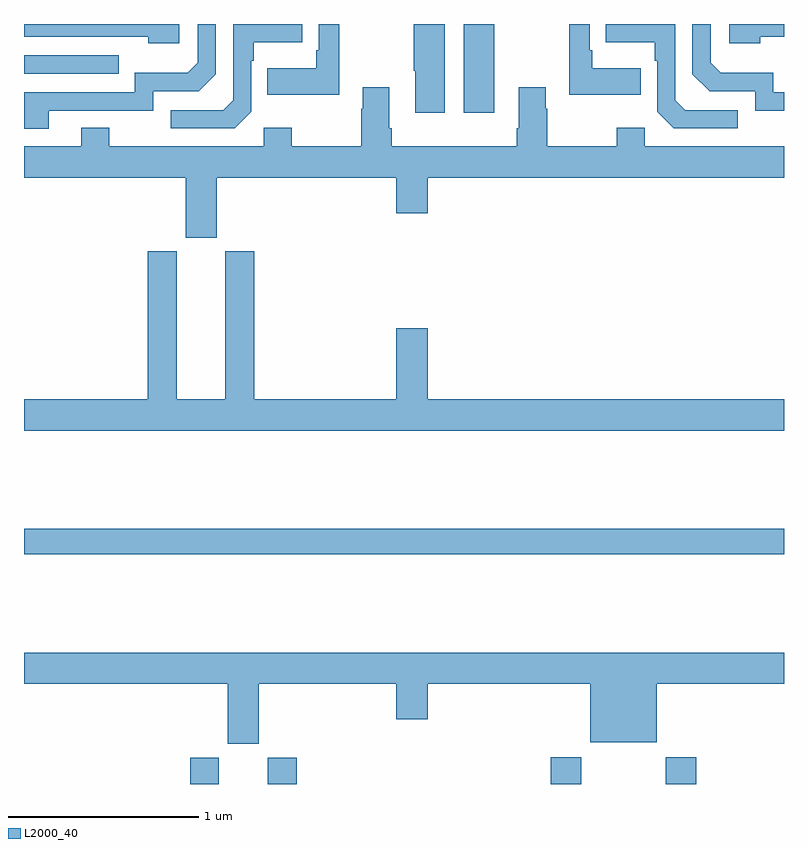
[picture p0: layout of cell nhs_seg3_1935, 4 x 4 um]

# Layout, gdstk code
import gdstk
lib = gdstk.Library(unit=1e-6, precision=1e-09)
def R(c, l, rs):  # rectangles x0, y0, x1, y1
    for r in rs: c.add(gdstk.rectangle(r[:2], r[2:], *l))
def P(c, l, *ps):  # polygons
    for p in ps: c.add(gdstk.Polygon(p, *l))
L2000_40 = (2000, 40)

nhs_seg3_1935 = lib.new_cell('nhs_seg3_1935')
R(nhs_seg3_1935, L2000_40, [(211.874,688.4,212.026,688.539), (212.282,688.4,212.435,688.539), (213.773,688.4,213.933,688.54), (214.378,688.4,214.538,688.54), (211,689.608,215,689.744), (213.314,691.932,213.475,692.4), (211,692.139,211.499,692.235)])
P(nhs_seg3_1935, L2000_40, [(215,692.04),(214.944,692.04),(214.944,692.143),(214.667,692.143),(214.614,692.196),(214.614,692.4),(214.518,692.4),(214.518,692.136),(214.608,692.046),(214.848,692.046),(214.848,691.944),(215,691.944)],
  [(214.247,692.167),(213.991,692.167),(213.991,692.263),(213.978,692.263),(213.978,692.4),(213.87,692.4),(213.87,692.027),(214.247,692.027)],
  [(212.659,692.4),(212.55,692.4),(212.55,692.263),(212.538,692.263),(212.538,692.167),(212.281,692.167),(212.281,692.027),(212.659,692.027)],
  [(211.816,692.4),(211,692.4),(211,692.334),(211.655,692.334),(211.655,692.3),(211.816,692.3)],
  [(213.214,692.4),(213.052,692.4),(213.052,692.155),(213.059,692.155),(213.059,691.932),(213.214,691.932)],
  [(214.874,692.334),(215,692.334),(215,692.4),(214.713,692.4),(214.713,692.3),(214.874,692.3)],
  [(211.129,691.944),(211.68,691.944),(211.68,692.046),(211.92,692.046),(212.01,692.136),(212.01,692.4),(211.914,692.4),(211.914,692.196),(211.861,692.143),(211.584,692.143),(211.584,692.04),(211,692.04),(211,691.848),(211.129,691.848)],
  [(214.756,691.947),(214.479,691.947),(214.428,691.998),(214.428,692.4),(214.063,692.4),(214.063,692.303),(214.32,692.303),(214.32,692.207),(214.332,692.207),(214.332,691.938),(214.419,691.851),(214.756,691.851)],
  [(212.196,691.938),(212.196,692.207),(212.209,692.207),(212.209,692.303),(212.465,692.303),(212.465,692.4),(212.1,692.4),(212.1,691.998),(212.049,691.947),(211.773,691.947),(211.773,691.851),(212.109,691.851)],
  [(212.014,691.592),(212.96,691.592),(212.96,691.404),(213.124,691.404),(213.124,691.592),(215,691.592),(215,691.756),(214.266,691.756),(214.266,691.855),(214.12,691.855),(214.12,691.756),(213.753,691.756),(213.753,691.955),(213.745,691.955),(213.745,692.068),(213.605,692.068),(213.605,691.852),(213.593,691.852),(213.593,691.756),(212.936,691.756),(212.936,691.852),(212.923,691.852),(212.923,692.068),(212.783,692.068),(212.783,691.955),(212.776,691.955),(212.776,691.756),(212.409,691.756),(212.409,691.855),(212.262,691.855),(212.262,691.756),(211.449,691.756),(211.449,691.855),(211.301,691.855),(211.301,691.756),(211,691.756),(211,691.592),(211.85,691.592),(211.85,691.275),(212.014,691.275)],
  [(215,690.424),(213.124,690.424),(213.124,690.799),(212.96,690.799),(212.96,690.424),(212.213,690.424),(212.213,691.203),(212.06,691.203),(212.06,690.424),(211.804,690.424),(211.804,691.203),(211.652,691.203),(211.652,690.424),(211,690.424),(211,690.26),(215,690.26)],
  [(212.236,688.928),(212.96,688.928),(212.96,688.74),(213.124,688.74),(213.124,688.928),(213.98,688.928),(213.98,688.619),(214.33,688.619),(214.33,688.928),(215,688.928),(215,689.092),(211,689.092),(211,688.928),(212.072,688.928),(212.072,688.611),(212.236,688.611)])

lib.write_gds('nhs_seg3_1935.gds')
